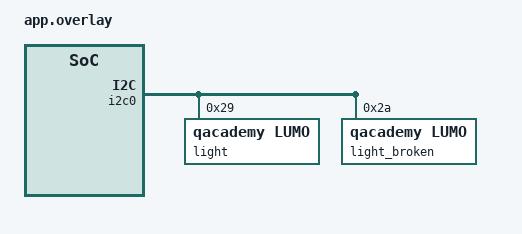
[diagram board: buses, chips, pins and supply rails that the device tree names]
/*
 * SPDX-License-Identifier: MIT
 *
 * One part that the kernel initializes at boot, and one whose initialization a test defers until
 * it has made the part report the wrong PART_ID.
 */

&i2c0 {
	light: lumo@29 {
		compatible = "qacademy,lumo";
		reg = <0x29>;
	};

	light_broken: lumo@2a {
		compatible = "qacademy,lumo";
		reg = <0x2a>;
		zephyr,deferred-init;
	};
};
